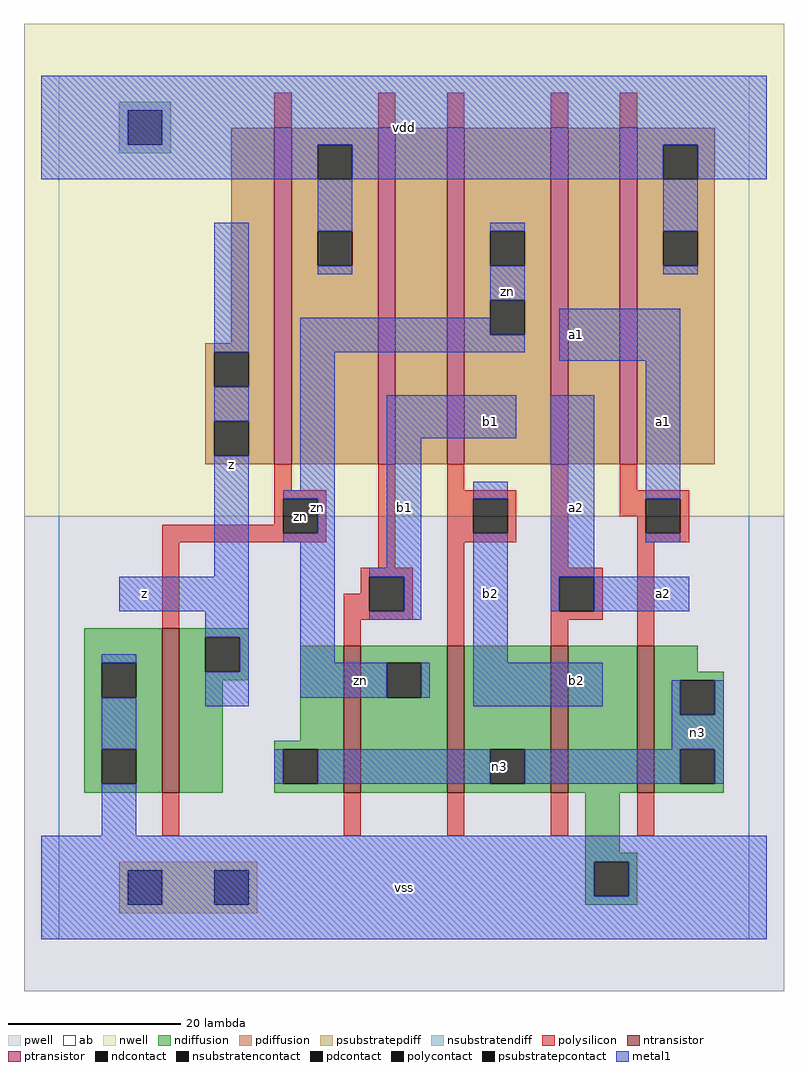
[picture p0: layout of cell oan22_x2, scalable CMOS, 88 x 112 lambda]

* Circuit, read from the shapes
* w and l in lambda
.subckt oan22_x2 a1 a2 b1 b2 n3 vdd vss z zn
M1 z zn vss vss nfet w=19 l=2
M2 zn b1 n3 vss nfet w=17 l=2
M3 n3 b2 zn vss nfet w=17 l=2
M4 vss a2 n3 vss nfet w=17 l=2
M5 n3 a1 vss vss nfet w=17 l=2
M6 vdd zn z vdd pfet w=39 l=2
M7 n1 b1 vdd vdd pfet w=39 l=2
M8 zn b2 n1 vdd pfet w=39 l=2
M9 n2 a2 zn vdd pfet w=39 l=2
M10 vdd a1 n2 vdd pfet w=39 l=2
.ends

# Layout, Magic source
magic
tech scmos
<< ab >>
rect 0 0 80 100
<< pwell >>
rect -4 -6 84 49
<< nwell >>
rect -4 49 84 106
<< polysilicon >>
rect 25 94 27 98
rect 37 94 39 98
rect 45 94 47 98
rect 57 94 59 98
rect 65 94 67 98
rect 25 52 27 55
rect 25 51 31 52
rect 25 48 26 51
rect 12 47 26 48
rect 30 47 31 51
rect 12 46 31 47
rect 12 36 14 46
rect 37 43 39 55
rect 45 52 47 55
rect 45 51 53 52
rect 45 47 48 51
rect 52 47 53 51
rect 45 46 53 47
rect 35 42 41 43
rect 35 40 36 42
rect 33 38 36 40
rect 40 38 41 42
rect 33 37 41 38
rect 33 34 35 37
rect 45 34 47 46
rect 57 43 59 55
rect 65 52 67 55
rect 65 51 73 52
rect 65 49 68 51
rect 67 47 68 49
rect 72 47 73 51
rect 67 46 73 47
rect 57 42 63 43
rect 57 38 58 42
rect 62 38 63 42
rect 57 37 63 38
rect 57 34 59 37
rect 67 34 69 46
rect 12 12 14 17
rect 33 12 35 17
rect 45 12 47 17
rect 57 12 59 17
rect 67 12 69 17
<< ndiffusion >>
rect 3 32 12 36
rect 3 28 5 32
rect 9 28 12 32
rect 3 22 12 28
rect 3 18 5 22
rect 9 18 12 22
rect 3 17 12 18
rect 14 35 22 36
rect 14 31 17 35
rect 21 31 22 35
rect 14 30 22 31
rect 14 17 19 30
rect 28 23 33 34
rect 25 22 33 23
rect 25 18 26 22
rect 30 18 33 22
rect 25 17 33 18
rect 35 32 45 34
rect 35 28 38 32
rect 42 28 45 32
rect 35 17 45 28
rect 47 22 57 34
rect 47 18 50 22
rect 54 18 57 22
rect 47 17 57 18
rect 59 17 67 34
rect 69 31 74 34
rect 69 30 77 31
rect 69 26 72 30
rect 76 26 77 30
rect 69 22 77 26
rect 69 18 72 22
rect 76 18 77 22
rect 69 17 77 18
rect 61 10 65 17
rect 61 9 67 10
rect 61 5 62 9
rect 66 5 67 9
rect 61 4 67 5
<< pdiffusion >>
rect 20 69 25 94
rect 17 68 25 69
rect 17 64 18 68
rect 22 64 25 68
rect 17 60 25 64
rect 17 56 18 60
rect 22 56 25 60
rect 17 55 25 56
rect 27 92 37 94
rect 27 88 30 92
rect 34 88 37 92
rect 27 82 37 88
rect 27 78 30 82
rect 34 78 37 82
rect 27 55 37 78
rect 39 55 45 94
rect 47 82 57 94
rect 47 78 50 82
rect 54 78 57 82
rect 47 74 57 78
rect 47 70 50 74
rect 54 70 57 74
rect 47 55 57 70
rect 59 55 65 94
rect 67 92 76 94
rect 67 88 70 92
rect 74 88 76 92
rect 67 82 76 88
rect 67 78 70 82
rect 74 78 76 82
rect 67 55 76 78
<< metal1 >>
rect -2 92 82 100
rect -2 88 30 92
rect 34 88 70 92
rect 74 88 82 92
rect 18 68 22 83
rect 30 82 34 88
rect 30 77 34 78
rect 50 82 54 83
rect 50 74 54 78
rect 70 82 74 88
rect 70 77 74 78
rect 18 60 22 64
rect 18 42 22 56
rect 28 70 50 72
rect 28 68 54 70
rect 28 52 32 68
rect 58 67 72 73
rect 26 51 32 52
rect 30 47 32 51
rect 26 46 32 47
rect 7 38 22 42
rect 17 35 22 38
rect 5 32 9 33
rect 5 22 9 28
rect 21 31 22 35
rect 17 27 22 31
rect 28 32 32 46
rect 38 58 53 63
rect 38 43 42 58
rect 36 42 42 43
rect 40 38 42 42
rect 36 37 42 38
rect 48 51 52 53
rect 48 32 52 47
rect 57 42 62 63
rect 68 51 72 67
rect 68 46 72 47
rect 57 38 58 42
rect 62 38 73 42
rect 28 28 38 32
rect 42 28 43 32
rect 48 27 63 32
rect 71 26 72 30
rect 76 26 77 30
rect 71 22 77 26
rect 25 18 26 22
rect 30 18 50 22
rect 54 18 72 22
rect 76 18 77 22
rect 5 12 9 18
rect -2 9 82 12
rect -2 5 62 9
rect 66 5 82 9
rect -2 0 82 5
<< ntransistor >>
rect 12 17 14 36
rect 33 17 35 34
rect 45 17 47 34
rect 57 17 59 34
rect 67 17 69 34
<< ptransistor >>
rect 25 55 27 94
rect 37 55 39 94
rect 45 55 47 94
rect 57 55 59 94
rect 65 55 67 94
<< polycontact >>
rect 26 47 30 51
rect 48 47 52 51
rect 36 38 40 42
rect 68 47 72 51
rect 58 38 62 42
<< ndcontact >>
rect 5 28 9 32
rect 5 18 9 22
rect 17 31 21 35
rect 26 18 30 22
rect 38 28 42 32
rect 50 18 54 22
rect 72 26 76 30
rect 72 18 76 22
rect 62 5 66 9
<< pdcontact >>
rect 18 64 22 68
rect 18 56 22 60
rect 30 88 34 92
rect 30 78 34 82
rect 50 78 54 82
rect 50 70 54 74
rect 70 88 74 92
rect 70 78 74 82
<< psubstratepcontact >>
rect 8 4 12 8
rect 18 4 22 8
<< nsubstratencontact >>
rect 8 92 12 96
<< psubstratepdiff >>
rect 7 8 23 9
rect 7 4 8 8
rect 12 4 18 8
rect 22 4 23 8
rect 7 3 23 4
<< nsubstratendiff >>
rect 7 96 13 97
rect 7 92 8 96
rect 12 92 13 96
rect 7 91 13 92
<< labels >>
rlabel polycontact 28 49 28 49 6 zn
rlabel metal1 10 40 10 40 6 z
rlabel metal1 10 40 10 40 6 z
rlabel metal1 20 55 20 55 6 z
rlabel metal1 20 55 20 55 6 z
rlabel metal1 40 6 40 6 6 vss
rlabel metal1 40 6 40 6 6 vss
rlabel metal1 35 30 35 30 6 zn
rlabel metal1 40 50 40 50 6 b1
rlabel metal1 40 50 40 50 6 b1
rlabel metal1 30 50 30 50 6 zn
rlabel metal1 40 94 40 94 6 vdd
rlabel metal1 40 94 40 94 6 vdd
rlabel metal1 60 30 60 30 6 b2
rlabel metal1 60 30 60 30 6 b2
rlabel metal1 50 40 50 40 6 b2
rlabel metal1 50 40 50 40 6 b2
rlabel metal1 60 50 60 50 6 a2
rlabel metal1 60 50 60 50 6 a2
rlabel metal1 50 60 50 60 6 b1
rlabel metal1 50 60 50 60 6 b1
rlabel metal1 60 70 60 70 6 a1
rlabel metal1 60 70 60 70 6 a1
rlabel metal1 52 75 52 75 6 zn
rlabel metal1 74 24 74 24 6 n3
rlabel ndcontact 51 20 51 20 6 n3
rlabel metal1 70 40 70 40 6 a2
rlabel metal1 70 40 70 40 6 a2
rlabel metal1 70 60 70 60 6 a1
rlabel metal1 70 60 70 60 6 a1
<< end >>
